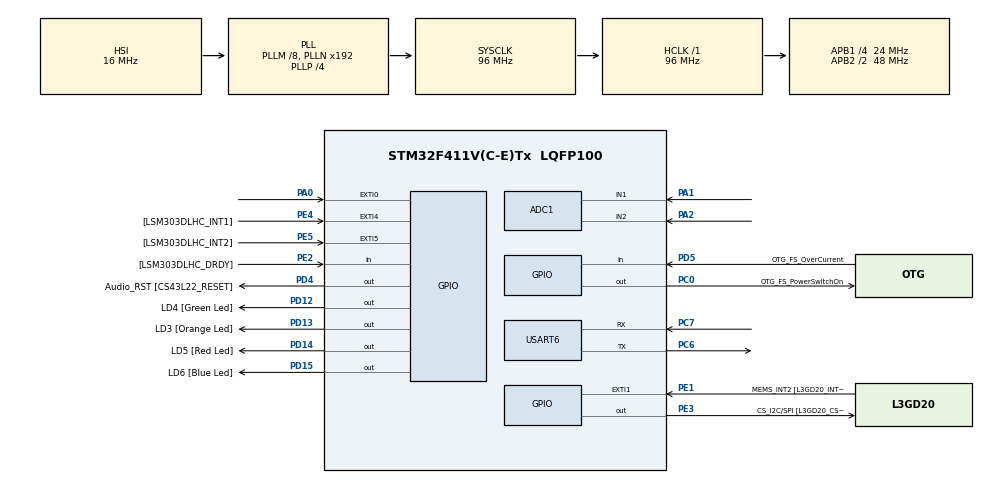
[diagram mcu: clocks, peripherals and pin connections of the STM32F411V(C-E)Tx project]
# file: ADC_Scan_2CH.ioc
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ADC1.Channel-0\#ChannelRegularConversion=ADC_CHANNEL_1
ADC1.Channel-1\#ChannelRegularConversion=ADC_CHANNEL_2
ADC1.ClockPrescaler=ADC_CLOCKPRESCALER_PCLK_DIV2
ADC1.ContinuousConvMode=ENABLE
ADC1.DMAContinuousRequests=ENABLE
ADC1.DataAlign=ADC_DATAALIGN_RIGHT
ADC1.DiscontinuousConvMode=DISABLE
ADC1.EOCSelection=EOC_SINGLE_CONV
ADC1.EnableAnalogWatchDog=false
ADC1.ExternalTrigConvEdge=ADC_EXTERNALTRIGCONVEDGE_NONE
ADC1.InjNumberOfConversion=0
ADC1.NbrOfConversion=2
ADC1.NbrOfConversionFlag=1
ADC1.Rank-0\#ChannelRegularConversion=1
ADC1.Rank-1\#ChannelRegularConversion=2
ADC1.Resolution=ADC_RESOLUTION12b
ADC1.SamplingTime-0\#ChannelRegularConversion=ADC_SAMPLETIME_144CYCLES
ADC1.SamplingTime-1\#ChannelRegularConversion=ADC_SAMPLETIME_144CYCLES
ADC1.ScanConvMode=ENABLE
ADC1.master=1
Dma.ADC1.0.Channel=DMA_CHANNEL_0
Dma.ADC1.0.Direction=DMA_PERIPH_TO_MEMORY
Dma.ADC1.0.FIFOMode=DMA_FIFOMODE_DISABLE
Dma.ADC1.0.Instance=DMA2_Stream0
Dma.ADC1.0.MemDataAlignment=DMA_MDATAALIGN_HALFWORD
Dma.ADC1.0.MemInc=DMA_MINC_ENABLE
Dma.ADC1.0.Mode=DMA_CIRCULAR
Dma.ADC1.0.PeriphDataAlignment=DMA_PDATAALIGN_HALFWORD
Dma.ADC1.0.PeriphInc=DMA_PINC_DISABLE
Dma.ADC1.0.Priority=DMA_PRIORITY_HIGH
Dma.Request0=ADC1
Mcu.Family=STM32F4
Mcu.Name=STM32F411V(C-E)Tx
Mcu.Package=LQFP100
NVIC.ADC_IRQn=true\:0\:0\:false
NVIC.DMA2_Stream0_IRQn=true\:0\:0\:false
NVIC.PriorityGroup=NVIC_PRIORITYGROUP_0
PA0-WKUP.GPIO_ModeDefaultEXTI=GPIO_MODE_EVT_RISING
PA0-WKUP.Signal=GPXTI0
PA1.Signal=ADCx_IN1
PA10.GPIO_Label=OTG_FS_ID
PA10.Signal=USB_OTG_FS_ID
PA11.GPIO_Label=OTG_FS_DM
PA11.Signal=USB_OTG_FS_DM
PA12.GPIO_Label=OTG_FS_DP
PA12.Signal=USB_OTG_FS_DP
PA13.GPIO_Label=SWDIO
PA13.Signal=SYS_JTMS-SWDIO
PA14.GPIO_Label=SWCLK
PA14.Signal=SYS_JTCK-SWCLK
PA2.Signal=ADCx_IN2
PA4.GPIO_Label=I2S3_WS [CS43L22_LRCK]
PA4.GPIO_Mode=GPIO_MODE_AF_PP
PA4.GPIO_PuPd=GPIO_NOPULL
PA4.GPIO_Speed=GPIO_SPEED_LOW
PA4.Signal=I2S3_WS
PA5.GPIO_Label=SPI1_SCK [L3GD20_SC/SPC]
PA5.Signal=SPI1_SCK
PA6.GPIO_Label=SPI1_MISO [L3GD20_AS0/SDO]
PA6.Signal=SPI1_MISO
PA7.GPIO_Label=SPI1_MOSI [L3GD20_SDA/SDI/SDO]
PA7.Signal=SPI1_MOSI
PA9.GPIO_Label=VBUS_FS
PA9.Signal=USB_OTG_FS_VBUS
PB10.GPIO_Label=CLK_IN [MP45DT02_CLK]
PB10.Signal=I2S2_CK
PB12.Signal=I2S2_WS
PB3.GPIO_Label=SWO
PB3.Signal=SYS_JTDO-SWO
PB6.GPIO_Label=Audio_SCL [CS43L22_SCL]
PB6.GPIO_Mode=GPIO_MODE_AF_OD
PB6.GPIO_PuPd=GPIO_NOPULL
PB6.GPIO_Speed=GPIO_SPEED_LOW
PB6.Signal=I2C1_SCL
PB9.GPIO_Label=Audio_SDA [CS43L22_SDA]
PB9.GPIO_Mode=GPIO_MODE_AF_OD
PB9.GPIO_PuPd=GPIO_NOPULL
PB9.GPIO_Speed=GPIO_SPEED_LOW
PB9.Signal=I2C1_SDA
PC0.GPIO_Label=OTG_FS_PowerSwitchOn
PC0.Signal=GPIO_Output
PC10.GPIO_Label=I2S3_SCK [CS43L22_SCLK]
PC10.GPIO_Mode=GPIO_MODE_AF_PP
PC10.GPIO_PuPd=GPIO_NOPULL
PC10.GPIO_Speed=GPIO_SPEED_LOW
PC10.Signal=I2S3_CK
PC12.GPIO_Label=I2S3_SD [CS43L22_SDIN]
PC12.GPIO_Mode=GPIO_MODE_AF_PP
PC12.GPIO_PuPd=GPIO_NOPULL
PC12.GPIO_Speed=GPIO_SPEED_LOW
PC12.Signal=I2S3_SD
PC14-OSC32_IN.GPIO_Label=PC14-OSC32_IN
PC14-OSC32_IN.Signal=RCC_OSC32_IN
PC15-OSC32_OUT.GPIO_Label=PC15-OSC32_OUT
PC15-OSC32_OUT.Signal=RCC_OSC32_OUT
PC3.GPIO_Label=PDM_OUT [MP45DT02_DOUT]
PC3.Signal=I2S2_SD
PC6.Mode=Asynchronous
PC6.Signal=USART6_TX
PC7.Mode=Asynchronous
PC7.Signal=USART6_RX
PD12.GPIO_Label=LD4 [Green Led]
PD12.GPIO_PuPd=GPIO_NOPULL
PD12.GPIO_Speed=GPIO_SPEED_LOW
PD12.Signal=GPIO_Output
PD13.GPIO_Label=LD3 [Orange Led]
PD13.GPIO_PuPd=GPIO_NOPULL
PD13.GPIO_Speed=GPIO_SPEED_LOW
PD13.Signal=GPIO_Output
PD14.GPIO_Label=LD5 [Red Led]
PD14.GPIO_PuPd=GPIO_NOPULL
PD14.GPIO_Speed=GPIO_SPEED_LOW
PD14.Signal=GPIO_Output
PD15.GPIO_Label=LD6 [Blue Led]
PD15.GPIO_PuPd=GPIO_NOPULL
PD15.GPIO_Speed=GPIO_SPEED_LOW
PD15.Signal=GPIO_Output
PD4.GPIO_Label=Audio_RST [CS43L22_RESET]
PD4.Signal=GPIO_Output
PD5.GPIO_Label=OTG_FS_OverCurrent
PD5.Signal=GPIO_Input
PE1.GPIO_Label=MEMS_INT2 [L3GD20_INT2]
PE1.GPIO_ModeDefaultEXTI=GPIO_MODE_EVT_RISING
PE1.Signal=GPXTI1
PE2.GPIO_Label=[LSM303DLHC_DRDY]
PE2.Signal=GPIO_Input
PE3.GPIO_Label=CS_I2C/SPI [L3GD20_CS_I2C/SPI]
PE3.Signal=GPIO_Output
PE4.GPIO_Label=[LSM303DLHC_INT1]
PE4.GPIO_ModeDefaultEXTI=GPIO_MODE_EVT_RISING
PE4.Signal=GPXTI4
PE5.GPIO_Label=[LSM303DLHC_INT2]
PE5.GPIO_ModeDefaultEXTI=GPIO_MODE_EVT_RISING
PE5.Signal=GPXTI5
PH0\ -\ OSC_IN.GPIO_Label=PH0-OSC_IN
PH0\ -\ OSC_IN.Signal=RCC_OSC_IN
PH1\ -\ OSC_OUT.GPIO_Label=PH1-OSC_OUT
PH1\ -\ OSC_OUT.Signal=RCC_OSC_OUT
ProjectManager.HeapSize=0x400
ProjectManager.StackSize=0x200
ProjectManager.TargetToolchain=TrueSTUDIO
RCC.48MHZClocksFreq_Value=48000000
RCC.AHBFreq_Value=96000000
RCC.APB1CLKDivider=RCC_HCLK_DIV4
RCC.APB1Freq_Value=24000000
RCC.APB1TimFreq_Value=48000000
RCC.APB2CLKDivider=RCC_HCLK_DIV2
RCC.APB2Freq_Value=48000000
RCC.APB2TimFreq_Value=96000000
RCC.CortexFreq_Value=96000000
RCC.HCLKFreq_Value=96000000
RCC.HSE_VALUE=8000000
RCC.HSI_VALUE=16000000
RCC.LSE_VALUE=32768
RCC.PLLI2SM=5
RCC.PLLI2SN=200
RCC.PLLM=8
RCC.PLLP=RCC_PLLP_DIV4
RCC.PLLQ=8
RCC.SYSCLKFreq_VALUE=96000000
RCC.SYSCLKSource=RCC_SYSCLKSOURCE_PLLCLK
RCC.VCOOutputFreq_Value=384000000
SH.ADCx_IN1.0=ADC1_IN1,IN1
SH.ADCx_IN2.0=ADC1_IN2,IN2
board=STM32F411E-DISCO

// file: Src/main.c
/**
  ******************************************************************************
  * File Name          : main.c
  * Description        : Main program body
  ******************************************************************************
  *
  * COPYRIGHT(c) 2016 STMicroelectronics
  *
  * Redistribution and use in source and binary forms, with or without modification,
  * are permitted provided that the following conditions are met:
  *   1. Redistributions of source code must retain the above copyright notice,
  *      this list of conditions and the following disclaimer.
  *   2. Redistributions in binary form must reproduce the above copyright notice,
  *      this list of conditions and the following disclaimer in the documentation
  *      and/or other materials provided with the distribution.
  *   3. Neither the name of STMicroelectronics nor the names of its contributors
  *      may be used to endorse or promote products derived from this software
  *      without specific prior written permission.
  *
  * THIS SOFTWARE IS PROVIDED BY THE COPYRIGHT HOLDERS AND CONTRIBUTORS "AS IS"
  * AND ANY EXPRESS OR IMPLIED WARRANTIES, INCLUDING, BUT NOT LIMITED TO, THE
  * IMPLIED WARRANTIES OF MERCHANTABILITY AND FITNESS FOR A PARTICULAR PURPOSE ARE
  * DISCLAIMED. IN NO EVENT SHALL THE COPYRIGHT HOLDER OR CONTRIBUTORS BE LIABLE
  * FOR ANY DIRECT, INDIRECT, INCIDENTAL, SPECIAL, EXEMPLARY, OR CONSEQUENTIAL
  * DAMAGES (INCLUDING, BUT NOT LIMITED TO, PROCUREMENT OF SUBSTITUTE GOODS OR
  * SERVICES; LOSS OF USE, DATA, OR PROFITS; OR BUSINESS INTERRUPTION) HOWEVER
  * CAUSED AND ON ANY THEORY OF LIABILITY, WHETHER IN CONTRACT, STRICT LIABILITY,
  * OR TORT (INCLUDING NEGLIGENCE OR OTHERWISE) ARISING IN ANY WAY OUT OF THE USE
  * OF THIS SOFTWARE, EVEN IF ADVISED OF THE POSSIBILITY OF SUCH DAMAGE.
  *
  ******************************************************************************
  */
#include "stm32f4xx_hal.h"

/* USER CODE BEGIN Includes */
#include <string.h>
#include <stdio.h>
/* USER CODE END Includes */

ADC_HandleTypeDef hadc1;
DMA_HandleTypeDef hdma_adc1;

UART_HandleTypeDef huart6;

/* USER CODE BEGIN PV */
/* Private variables ---------------------------------------------------------*/
#define ADC_BUFFER_LENGTH 10
uint32_t ADCBuffer1[ADC_BUFFER_LENGTH]={0};
uint32_t ADCBuffer2[ADC_BUFFER_LENGTH]={0};
uint32_t ADCBuffer3[ADC_BUFFER_LENGTH]={0};
uint16_t a1 = 0;
uint16_t a2 = 0;
uint16_t counter = 0;
/* USER CODE END PV */

void SystemClock_Config(void);
static void MX_GPIO_Init(void);
static void MX_DMA_Init(void);
static void MX_ADC1_Init(void);
static void MX_USART6_UART_Init(void);

/* USER CODE BEGIN PFP */
/* Private function prototypes -----------------------------------------------*/

/* USER CODE END PFP */

/* USER CODE BEGIN 0 */
void Uart_transmit(uint32_t dma_buffer[])
{
	int i = 0;
	int count = 2;
	char buffer[50] = {"Empty.."};
	uint32_t twaalfbit = 4095;
	//int acht = 8;
	for(i=0; i<ADC_BUFFER_LENGTH;i++)
	{
		  if(i%2 ==0)
		  {

			  dma_buffer[i] &= twaalfbit;
			  //dma_buffer[i] = dma_buffer[i] >> acht;
			  sprintf(buffer,"pin a1: %05d   ",(int) dma_buffer[i]);
			  HAL_UART_Transmit(&huart6,(uint8_t*) buffer,strlen(buffer),HAL_MAX_DELAY);
			  count++;
		  }
		  else
		  {
			  dma_buffer[i] &= twaalfbit;
			  sprintf(buffer,"pin a2: %05d   ",(int) dma_buffer[i]);
			  HAL_UART_Transmit(&huart6,(uint8_t*) buffer,strlen(buffer),HAL_MAX_DELAY);
			  count++;
		  }
		  HAL_UART_Transmit(&huart6,(uint8_t*)"\r\n",strlen("\r\n"),HAL_MAX_DELAY);
	}
	HAL_UART_Transmit(&huart6,(uint8_t*)"\r\n",strlen("\r\n"),HAL_MAX_DELAY);
}
void DoubleUart_transmit(uint32_t buffer[],uint32_t buffer2[])
{
	int i = 0;
	int count = 0;
	char tempbuffer[50] = {"Empty.."};
	uint32_t twaalfbit = 4095;
	//int acht = 8;
	for(i=0; i<ADC_BUFFER_LENGTH;i++)
	{
		  buffer[i] &= twaalfbit;
		  sprintf(tempbuffer,"pin a1: %05d   ",(int) buffer[i]);
		  HAL_UART_Transmit(&huart6,(uint8_t*) tempbuffer,strlen(tempbuffer),HAL_MAX_DELAY);
		  HAL_UART_Transmit(&huart6,(uint8_t*)"       ",strlen("       "),HAL_MAX_DELAY);
		  buffer2[i] &= twaalfbit;
		  sprintf(tempbuffer,"pin a2: %05d   ",(int) buffer2[i]);
		  HAL_UART_Transmit(&huart6,(uint8_t*) tempbuffer,strlen(tempbuffer),HAL_MAX_DELAY);
		  HAL_UART_Transmit(&huart6,(uint8_t*)"\r\n",strlen("\r\n"),HAL_MAX_DELAY);
	}
	HAL_UART_Transmit(&huart6,(uint8_t*)"\r\n",strlen("\r\n"),HAL_MAX_DELAY);
}
//Zonder DMA
//void ADC_IRQHandler(void)
//{
//	uint16_t value = 0;
//		value = HAL_ADC_GetValue(&hadc1);
//		if(counter % 2 == 0) {
//				a1 = value;
//				HAL_GPIO_WritePin(GPIOD,LD5_Pin,GPIO_PIN_SET); //RED
//		} else {
//				a2 = value;
//				HAL_GPIO_WritePin(GPIOD,LD4_Pin,GPIO_PIN_SET); //YELLOW
//		}
//		counter++;
//}
void ADC_IRQHandler(void)
{
//	char tempbuffer[50] = {"Empty.."};
	if(counter%2 == 0)
		  {

			  HAL_ADC_Start_DMA(&hadc1, &ADCBuffer1[0], ADC_BUFFER_LENGTH*2);
		  }
		  else
		  {
			  HAL_ADC_Start_DMA(&hadc1, &ADCBuffer2[0], ADC_BUFFER_LENGTH*2);
		  }
//	  sprintf(tempbuffer,"counter: %05d   ",(int) counter);
//	  HAL_UART_Transmit(&huart6,(uint8_t*) tempbuffer,strlen(tempbuffer),HAL_MAX_DELAY);
		  counter++;
	//HAL_ADC_Start_DMA(&hadc1, &ADCBuffer1[0], ADC_BUFFER_LENGTH*2);
	//HAL_ADC_IRQHandler(&hadc1);
}
/* USER CODE END 0 */

int main(void)
{

  /* USER CODE BEGIN 1 */
int teller=0;

  /* USER CODE END 1 */

  /* MCU Configuration----------------------------------------------------------*/

  /* Reset of all peripherals, Initializes the Flash interface and the Systick. */
  HAL_Init();

  /* Configure the system clock */
  SystemClock_Config();

  /* Initialize all configured peripherals */
  MX_GPIO_Init();
  MX_DMA_Init();
  MX_ADC1_Init();
  MX_USART6_UART_Init();

  /* Infinite loop */
  while (1)
  {

  /* USER CODE BEGIN 3 */
	  HAL_ADC_Start_IT(&hadc1);
	  HAL_ADC_Start_DMA(&hadc1, &ADCBuffer3[0], ADC_BUFFER_LENGTH*4);
/*	  if(counter%2 == 0)
	  {
		  HAL_ADC_Start_DMA(&hadc1, &ADCBuffer1[0], ADC_BUFFER_LENGTH*2);
	  }
	  else
	  {
		  HAL_ADC_Start_DMA(&hadc1, &ADCBuffer2[0], ADC_BUFFER_LENGTH*2);
	  }
	  counter++;*/
//	  Uart_transmit(ADCBuffer);
//	  HAL_UART_Transmit(&huart6,"\r\n",strlen("\r\n"),HAL_MAX_DELAY);
//	  HAL_UART_Transmit(&huart6,"\r\n",strlen("\r\n"),HAL_MAX_DELAY);
	  //Zonder DMA (op interrupt)
	  //char buffer[50] = {"Empty.."};
	  //uint16_t val1;
	  //uint16_t val2;
/*	  while(counter < 2)HAL_GPIO_WritePin(GPIOD,LD6_Pin,GPIO_PIN_SET);
	  HAL_GPIO_WritePin(GPIOD,LD6_Pin,GPIO_PIN_RESET);
	  if(counter>= 2) {
	          val1 = a1;
	          val2 = a2;
	           Е
	  }*/
	  if(HAL_GPIO_ReadPin(GPIOA,GPIO_PIN_0))
	  {
	   HAL_Delay(500);
	   HAL_GPIO_WritePin(GPIOD,LD3_Pin,GPIO_PIN_SET);//GREEN

	   //met DMA Continious Scan
	   DoubleUart_transmit(ADCBuffer1,ADCBuffer2);
	   Uart_transmit(ADCBuffer3);
//	   HAL_UART_Transmit(&huart6,(uint8_t*)"Buffer Pin 1\r\n",strlen("Buffer Pin 1\r\n"),HAL_MAX_DELAY);
//	   Uart_transmit(ADCBuffer1);
//	   HAL_UART_Transmit(&huart6,"Buffer Pin 2\r\n",strlen("Buffer Pin 2\r\n"),HAL_MAX_DELAY);
//	   Uart_transmit(ADCBuffer2);
//	   HAL_UART_Transmit(&huart6,"\r\n",strlen("\r\n"),HAL_MAX_DELAY);
//	   HAL_UART_Transmit(&huart6,(uint8_t*)"\r\n",strlen("\r\n"),HAL_MAX_DELAY);

	   //zonder DMA Single Scan
/*	   sprintf(buffer,"pin a1: %05d   ",val1);
	   HAL_UART_Transmit(&huart6,(uint8_t*) buffer,strlen(buffer),HAL_MAX_DELAY);
	   sprintf(buffer,"pin a2: %05d   ",val2);
	   HAL_UART_Transmit(&huart6,(uint8_t*) buffer,strlen(buffer),HAL_MAX_DELAY);
	   HAL_UART_Transmit(&huart6,"\r\n",strlen("\r\n"),HAL_MAX_DELAY);*/
	  }
  }
  /* USER CODE END 3 */

}

/** System Clock Configuration
*/
void SystemClock_Config(void)
{

  RCC_OscInitTypeDef RCC_OscInitStruct;
  RCC_ClkInitTypeDef RCC_ClkInitStruct;

  __PWR_CLK_ENABLE();

  __HAL_PWR_VOLTAGESCALING_CONFIG(PWR_REGULATOR_VOLTAGE_SCALE1);

  RCC_OscInitStruct.OscillatorType = RCC_OSCILLATORTYPE_HSI;
  RCC_OscInitStruct.HSIState = RCC_HSI_ON;
  RCC_OscInitStruct.HSICalibrationValue = 16;
  RCC_OscInitStruct.PLL.PLLState = RCC_PLL_ON;
  RCC_OscInitStruct.PLL.PLLSource = RCC_PLLSOURCE_HSI;
  RCC_OscInitStruct.PLL.PLLM = 8;
  RCC_OscInitStruct.PLL.PLLN = 192;
  RCC_OscInitStruct.PLL.PLLP = RCC_PLLP_DIV4;
  RCC_OscInitStruct.PLL.PLLQ = 8;
  HAL_RCC_OscConfig(&RCC_OscInitStruct);

  RCC_ClkInitStruct.ClockType = RCC_CLOCKTYPE_HCLK|RCC_CLOCKTYPE_SYSCLK
                              |RCC_CLOCKTYPE_PCLK1|RCC_CLOCKTYPE_PCLK2;
  RCC_ClkInitStruct.SYSCLKSource = RCC_SYSCLKSOURCE_PLLCLK;
  RCC_ClkInitStruct.AHBCLKDivider = RCC_SYSCLK_DIV1;
  RCC_ClkInitStruct.APB1CLKDivider = RCC_HCLK_DIV4;
  RCC_ClkInitStruct.APB2CLKDivider = RCC_HCLK_DIV2;
  HAL_RCC_ClockConfig(&RCC_ClkInitStruct, FLASH_LATENCY_3);

  HAL_SYSTICK_Config(HAL_RCC_GetHCLKFreq()/1000);

  HAL_SYSTICK_CLKSourceConfig(SYSTICK_CLKSOURCE_HCLK);

  /* SysTick_IRQn interrupt configuration */
  HAL_NVIC_SetPriority(SysTick_IRQn, 0, 0);
}

/* ADC1 init function */
void MX_ADC1_Init(void)
{

  ADC_ChannelConfTypeDef sConfig;

    /**Configure the global features of the ADC (Clock, Resolution, Data Alignment and number of conversion)
    */
  hadc1.Instance = ADC1;
  hadc1.Init.ClockPrescaler = ADC_CLOCKPRESCALER_PCLK_DIV2;
  hadc1.Init.Resolution = ADC_RESOLUTION12b;
  hadc1.Init.ScanConvMode = ENABLE;
  hadc1.Init.ContinuousConvMode = ENABLE;
  hadc1.Init.DiscontinuousConvMode = DISABLE;
  hadc1.Init.ExternalTrigConvEdge = ADC_EXTERNALTRIGCONVEDGE_NONE;
  hadc1.Init.DataAlign = ADC_DATAALIGN_RIGHT;
  hadc1.Init.NbrOfConversion = 2;
  hadc1.Init.DMAContinuousRequests = ENABLE;
  hadc1.Init.EOCSelection = EOC_SINGLE_CONV;
  HAL_ADC_Init(&hadc1);

    /**Configure for the selected ADC regular channel its corresponding rank in the sequencer and its sample time.
    */
  sConfig.Channel = ADC_CHANNEL_1;
  sConfig.Rank = 1;
  sConfig.SamplingTime = ADC_SAMPLETIME_144CYCLES;
  HAL_ADC_ConfigChannel(&hadc1, &sConfig);

    /**Configure for the selected ADC regular channel its corresponding rank in the sequencer and its sample time.
    */
  sConfig.Channel = ADC_CHANNEL_2;
  sConfig.Rank = 2;
  HAL_ADC_ConfigChannel(&hadc1, &sConfig);

}

/* USART6 init function */
void MX_USART6_UART_Init(void)
{

  huart6.Instance = USART6;
  huart6.Init.BaudRate = 115200;
  huart6.Init.WordLength = UART_WORDLENGTH_8B;
  huart6.Init.StopBits = UART_STOPBITS_1;
  huart6.Init.Parity = UART_PARITY_NONE;
  huart6.Init.Mode = UART_MODE_TX_RX;
  huart6.Init.HwFlowCtl = UART_HWCONTROL_NONE;
  huart6.Init.OverSampling = UART_OVERSAMPLING_16;
  HAL_UART_Init(&huart6);

}

void MX_DMA_Init(void)
{
  /* DMA controller clock enable */
  __DMA2_CLK_ENABLE();

  /* DMA interrupt init */
  HAL_NVIC_SetPriority(DMA2_Stream0_IRQn, 0, 0);
  HAL_NVIC_EnableIRQ(DMA2_Stream0_IRQn);

}

/** Configure pins as
        * Analog
        * Input
        * Output
        * EVENT_OUT
        * EXTI
     PC3   ------> I2S2_SD
     PA4   ------> I2S3_WS
     PA5   ------> SPI1_SCK
     PA6   ------> SPI1_MISO
     PA7   ------> SPI1_MOSI
     PB10   ------> I2S2_CK
     PB12   ------> I2S2_WS
     PA9   ------> USB_OTG_FS_VBUS
     PA10   ------> USB_OTG_FS_ID
     PA11   ------> USB_OTG_FS_DM
     PA12   ------> USB_OTG_FS_DP
     PC10   ------> I2S3_CK
     PC12   ------> I2S3_SD
     PB6   ------> I2C1_SCL
     PB9   ------> I2C1_SDA
*/
void MX_GPIO_Init(void)
{

  GPIO_InitTypeDef GPIO_InitStruct;

  /* GPIO Ports Clock Enable */
  __GPIOE_CLK_ENABLE();
  __GPIOC_CLK_ENABLE();
  __GPIOH_CLK_ENABLE();
  __GPIOA_CLK_ENABLE();
  __GPIOB_CLK_ENABLE();
  __GPIOD_CLK_ENABLE();

  /*Configure GPIO pin : PE2 */
  GPIO_InitStruct.Pin = GPIO_PIN_2;
  GPIO_InitStruct.Mode = GPIO_MODE_INPUT;
  GPIO_InitStruct.Pull = GPIO_NOPULL;
  HAL_GPIO_Init(GPIOE, &GPIO_InitStruct);

  /*Configure GPIO pin : CS_I2C_SPI_Pin */
  GPIO_InitStruct.Pin = CS_I2C_SPI_Pin;
  GPIO_InitStruct.Mode = GPIO_MODE_OUTPUT_PP;
  GPIO_InitStruct.Pull = GPIO_NOPULL;
  GPIO_InitStruct.Speed = GPIO_SPEED_LOW;
  HAL_GPIO_Init(CS_I2C_SPI_GPIO_Port, &GPIO_InitStruct);

  /*Configure GPIO pins : PE4 PE5 MEMS_INT2_Pin */
  GPIO_InitStruct.Pin = GPIO_PIN_4|GPIO_PIN_5|MEMS_INT2_Pin;
  GPIO_InitStruct.Mode = GPIO_MODE_EVT_RISING;
  GPIO_InitStruct.Pull = GPIO_NOPULL;
  HAL_GPIO_Init(GPIOE, &GPIO_InitStruct);

  /*Configure GPIO pin : OTG_FS_PowerSwitchOn_Pin */
  GPIO_InitStruct.Pin = OTG_FS_PowerSwitchOn_Pin;
  GPIO_InitStruct.Mode = GPIO_MODE_OUTPUT_PP;
  GPIO_InitStruct.Pull = GPIO_NOPULL;
  GPIO_InitStruct.Speed = GPIO_SPEED_LOW;
  HAL_GPIO_Init(OTG_FS_PowerSwitchOn_GPIO_Port, &GPIO_InitStruct);

  /*Configure GPIO pin : PDM_OUT_Pin */
  GPIO_InitStruct.Pin = PDM_OUT_Pin;
  GPIO_InitStruct.Mode = GPIO_MODE_AF_PP;
  GPIO_InitStruct.Pull = GPIO_NOPULL;
  GPIO_InitStruct.Speed = GPIO_SPEED_LOW;
  GPIO_InitStruct.Alternate = GPIO_AF5_SPI2;
  HAL_GPIO_Init(PDM_OUT_GPIO_Port, &GPIO_InitStruct);

  /*Configure GPIO pin : PA0 */
  GPIO_InitStruct.Pin = GPIO_PIN_0;
  GPIO_InitStruct.Mode = GPIO_MODE_EVT_RISING;
  GPIO_InitStruct.Pull = GPIO_NOPULL;
  HAL_GPIO_Init(GPIOA, &GPIO_InitStruct);

  /*Configure GPIO pin : PA4 */
  GPIO_InitStruct.Pin = GPIO_PIN_4;
  GPIO_InitStruct.Mode = GPIO_MODE_AF_PP;
  GPIO_InitStruct.Pull = GPIO_NOPULL;
  GPIO_InitStruct.Speed = GPIO_SPEED_LOW;
  GPIO_InitStruct.Alternate = GPIO_AF6_SPI3;
  HAL_GPIO_Init(GPIOA, &GPIO_InitStruct);

  /*Configure GPIO pins : PA5 PA6 PA7 */
  GPIO_InitStruct.Pin = GPIO_PIN_5|GPIO_PIN_6|GPIO_PIN_7;
  GPIO_InitStruct.Mode = GPIO_MODE_AF_PP;
  GPIO_InitStruct.Pull = GPIO_NOPULL;
  GPIO_InitStruct.Speed = GPIO_SPEED_HIGH;
  GPIO_InitStruct.Alternate = GPIO_AF5_SPI1;
  HAL_GPIO_Init(GPIOA, &GPIO_InitStruct);

  /*Configure GPIO pins : CLK_IN_Pin PB12 */
  GPIO_InitStruct.Pin = CLK_IN_Pin|GPIO_PIN_12;
  GPIO_InitStruct.Mode = GPIO_MODE_AF_PP;
  GPIO_InitStruct.Pull = GPIO_NOPULL;
  GPIO_InitStruct.Speed = GPIO_SPEED_LOW;
  GPIO_InitStruct.Alternate = GPIO_AF5_SPI2;
  HAL_GPIO_Init(GPIOB, &GPIO_InitStruct);

  /*Configure GPIO pins : LD4_Pin LD3_Pin LD5_Pin LD6_Pin
                           Audio_RST_Pin */
  GPIO_InitStruct.Pin = LD4_Pin|LD3_Pin|LD5_Pin|LD6_Pin
                          |Audio_RST_Pin;
  GPIO_InitStruct.Mode = GPIO_MODE_OUTPUT_PP;
  GPIO_InitStruct.Pull = GPIO_NOPULL;
  GPIO_InitStruct.Speed = GPIO_SPEED_LOW;
  HAL_GPIO_Init(GPIOD, &GPIO_InitStruct);

  /*Configure GPIO pin : VBUS_FS_Pin */
  GPIO_InitStruct.Pin = VBUS_FS_Pin;
  GPIO_InitStruct.Mode = GPIO_MODE_INPUT;
  GPIO_InitStruct.Pull = GPIO_NOPULL;
  HAL_GPIO_Init(VBUS_FS_GPIO_Port, &GPIO_InitStruct);

  /*Configure GPIO pins : OTG_FS_ID_Pin OTG_FS_DM_Pin OTG_FS_DP_Pin */
  GPIO_InitStruct.Pin = OTG_FS_ID_Pin|OTG_FS_DM_Pin|OTG_FS_DP_Pin;
  GPIO_InitStruct.Mode = GPIO_MODE_AF_PP;
  GPIO_InitStruct.Pull = GPIO_NOPULL;
  GPIO_InitStruct.Speed = GPIO_SPEED_HIGH;
  GPIO_InitStruct.Alternate = GPIO_AF10_OTG_FS;
  HAL_GPIO_Init(GPIOA, &GPIO_InitStruct);

  /*Configure GPIO pins : I2S3_SCK_Pin PC12 */
  GPIO_InitStruct.Pin = I2S3_SCK_Pin|GPIO_PIN_12;
  GPIO_InitStruct.Mode = GPIO_MODE_AF_PP;
  GPIO_InitStruct.Pull = GPIO_NOPULL;
  GPIO_InitStruct.Speed = GPIO_SPEED_LOW;
  GPIO_InitStruct.Alternate = GPIO_AF6_SPI3;
  HAL_GPIO_Init(GPIOC, &GPIO_InitStruct);

  /*Configure GPIO pin : OTG_FS_OverCurrent_Pin */
  GPIO_InitStruct.Pin = OTG_FS_OverCurrent_Pin;
  GPIO_InitStruct.Mode = GPIO_MODE_INPUT;
  GPIO_InitStruct.Pull = GPIO_NOPULL;
  HAL_GPIO_Init(OTG_FS_OverCurrent_GPIO_Port, &GPIO_InitStruct);

  /*Configure GPIO pins : Audio_SCL_Pin Audio_SDA_Pin */
  GPIO_InitStruct.Pin = Audio_SCL_Pin|Audio_SDA_Pin;
  GPIO_InitStruct.Mode = GPIO_MODE_AF_OD;
  GPIO_InitStruct.Pull = GPIO_PULLUP;
  GPIO_InitStruct.Speed = GPIO_SPEED_LOW;
  GPIO_InitStruct.Alternate = GPIO_AF4_I2C1;
  HAL_GPIO_Init(GPIOB, &GPIO_InitStruct);

  /*Configure GPIO pin Output Level */
  HAL_GPIO_WritePin(CS_I2C_SPI_GPIO_Port, CS_I2C_SPI_Pin, GPIO_PIN_RESET);

  /*Configure GPIO pin Output Level */
  HAL_GPIO_WritePin(OTG_FS_PowerSwitchOn_GPIO_Port, OTG_FS_PowerSwitchOn_Pin, GPIO_PIN_RESET);

  /*Configure GPIO pin Output Level */
  HAL_GPIO_WritePin(GPIOD, LD4_Pin|LD3_Pin|LD5_Pin|LD6_Pin
                          |Audio_RST_Pin, GPIO_PIN_RESET);

}

/************************ (C) COPYRIGHT STMicroelectronics *****END OF FILE****/
